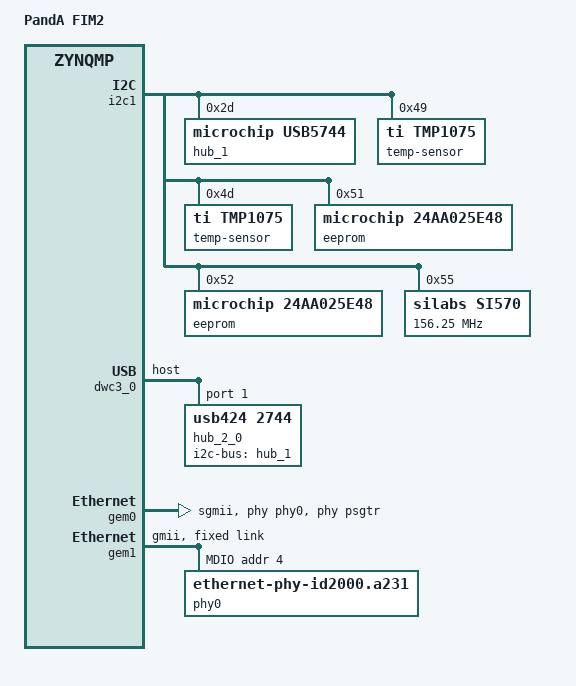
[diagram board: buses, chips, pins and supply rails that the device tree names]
/*
 * FIM2 MainBoard carrier for the K26 SOM: everything reached through SOM240.
 * SOM devices (QSPI, eMMC) live in som/k26/dts/; scripts/gen_sdt.sh merges
 * them ahead of this file and passes the result to SDTGen as -user_dts.
 * Binding constants are written as numbers, without C preprocessing.
 *
 * Migrated from the 2024.2 board tree. Check labels and merged properties
 * against the generated 2026.1 tree before using this on hardware.
 *
 * panda-load-firmware identifies the board from the model string.
 */
/ {
	model = "PandA FIM2";
	/* SDTGen 2026.1 falls back to k26c-microblaze without a stock board DTS. */
	compatible = "xlnx,zynqmp";
	aliases {
		ethernet0 = &gem0;
		ethernet1 = &gem1;
	};

	clk_125: clock0 { /* Y8 - 125 MHz GEM0 SGMII reference */
		compatible = "fixed-clock";
		#clock-cells = <0>;
		clock-frequency = <125000000>;
	};

	clk_27: clock1 { /* Y11 - 27 MHz DisplayPort reference */
		compatible = "fixed-clock";
		#clock-cells = <0>;
		clock-frequency = <27000000>;
	};

};

/*
 * GEM0 runs SGMII over PS-GT lane 0 and DisplayPort uses lane 1.  The
 * generated pcw.dtsi enables &psgtr but does not describe its reference
 * clocks, so name them here.
 *
 * REFCLK0 is the 125 MHz Y8 and REFCLK1 the 27 MHz Y11, matching
 * CONFIG.PSU__GEM0__REF_CLK_SEL and CONFIG.PSU__DP__REF_CLK_SEL in
 * carriers/fim2/bd/design_1.tcl.  Keep them in step: psu_init programs the
 * SERDES from the block design, while Linux reprograms each lane from its
 * "phys" cells (below for GEM0, generated in pcw.dtsi for DisplayPort).
 *
 * The 26 MHz Y9 on REFCLK2 is for USB 3.0, which is not enabled.
 */
&psgtr {
	clocks = <&clk_125>, <&clk_27>;
	clock-names = "ref0", "ref1";
};

/* DP STC, audio and video clock rates, as on the KR260 */
&zynqmp_dpsub {
	assigned-clock-rates = <27000000>, <25000000>, <300000000>;
};

&pinctrl0 {
	status = "okay";
	pinctrl_usb_reset_default: usb-reset-default {
		mux {
			groups = "gpio0_76_grp";
			function = "gpio0";
		};
		conf {
			pins = "MIO76";
			power-source = <1>; /* PS bank 502: 1.8 V */
			bias-pull-up; /* Leave the sequencer enabled when unclaimed. */
			slew-rate = <1>;
			drive-strength = <4>;
			output-enable; /* Remove the boot firmware's MIO tri-state. */
		};
	};
};

/*
 * MIO76 pulls U54's EN low through D15 to reset the USB PHY, hub and SD
 * reader together. Keep it available for the manual Linux reset helper;
 * assigning it to the hub driver would also reset the upstream PHY.
 * GPIO direction stays input until userspace requests an output.
 */
&gpio {
	status = "okay";
	pinctrl-names = "default";
	pinctrl-0 = <&pinctrl_usb_reset_default>;
	gpio-line-names =
		"", "", "", "", "", "", "", "", /* 0..7 */
		"", "", "", "", "", "", "", "", /* 8..15 */
		"", "", "", "", "", "", "", "", /* 16..23 */
		"", "", "", "", "", "", "", "", /* 24..31 */
		"", "", "", "", "", "", "", "", /* 32..39 */
		"", "", "", "", "", "", "", "", /* 40..47 */
		"", "", "", "", "", "", "", "", /* 48..55 */
		"", "", "", "", "", "", "", "", /* 56..63 */
		"", "", "", "", "", "", "", "", /* 64..71 */
		"", "", "", "", "FIM2_USB_RESET_N"; /* 72..76 */
};

/*
 * I2C0, MIO 42/43: SFP management bus through U36 (J21) and U60 (J8).  Its
 * level-shifter enables on MIO 38-40 are pulled up, so both cages answer at
 * 0x50/0x51; nothing is described here yet.
 */

/*
 * I2C1, MIO 24/25: shared by the SOM (PMICs, SOM EEPROM at 0x50 and 0x58)
 * and, through U37, the carrier, the FMC and the RearBoard/FrontBoard
 * EEPROMs.  Only carrier devices are described.  There is no I2C mux and no
 * reset expander on FIM2.
 */
&i2c1 {
	#address-cells = <1>;
	#size-cells = <0>;

	hub_1: usb-hub@2d { /* U19 USB5744 */
		compatible = "microchip,usb5744";
		reg = <0x2d>;
	};

	temp-sensor@49 { /* U32 TMP1075 */
		compatible = "ti,tmp1075";
		reg = <0x49>;
	};

	temp-sensor@4d { /* U34 TMP1075 */
		compatible = "ti,tmp1075";
		reg = <0x4d>;
	};

	/*
	 * 24AA025E48 MAC EEPROMs.  The upper half, which holds the factory
	 * EUI-48 at 0xfa, is write-protected in the part.
	 */
	eeprom@51 { /* U33 */
		compatible = "microchip,24aa025e48", "atmel,24c02";
		reg = <0x51>;
		read-only;
		#address-cells = <1>;
		#size-cells = <1>;

		gem0_mac: mac-address@fa {
			reg = <0xfa 0x6>;
		};
	};

	eeprom@52 { /* U35, 0x56 when JP12 is moved */
		compatible = "microchip,24aa025e48", "atmel,24c02";
		reg = <0x52>;
		read-only;
	};

	/*
	 * Y10 drives GTH REFCLK0 for the SFP+ cages.  It powers up at about
	 * 10 MHz, so set the 156.25 MHz the SFP core expects.  Any stability
	 * other than 7 ppm selects registers 7-12, which is what the part on
	 * the prototype answers on.
	 */
	si570: clock-generator@55 {
		compatible = "silabs,si570";
		reg = <0x55>;
		#clock-cells = <0>;
		temperature-stability = <50>;
		factory-fout = <10000000>;
		clock-frequency = <156250000>;
		clock-output-names = "sfp_refclk";
	};
};

/*
 * USB0, MIO 52-63: U18 USB3320 ULPI PHY, U19 USB5744 hub and U29 USB2244
 * card reader. U54 LM3880 sequences their resets; MIO76 is a manual override
 * of its enable, not a dedicated reset GPIO for any one USB device.
 * USB 3.0 is not enabled, so the controller is limited to high speed.
 */
&usb0 {
	/* The generated Kria tree's dedicated reset GPIO is not wired on FIM2. */
	/delete-property/ reset-gpios;
};

&dwc3_0 {
	dr_mode = "host";
	maximum-speed = "high-speed";
	#address-cells = <1>;
	#size-cells = <0>;

	hub_2_0: hub@1 { /* USB5744 USB 2.0 hub */
		compatible = "usb424,2744";
		reg = <1>;
		i2c-bus = <&hub_1>;
	};
};

&gem0 { /* SGMII over PS-GT lane 0, MDIO from GEM1 on MIO 50/51 */
	phys = <&psgtr 0 8 0 0>; /* lane 0, PHY_TYPE_SGMII, instance 0, refclk 0 */
	phy-handle = <&phy0>;
	phy-mode = "sgmii";
	is-internal-pcspma;
	nvmem-cells = <&gem0_mac>;
	nvmem-cell-names = "mac-address";
};

/*
 * GEM1 is on EMIO with nothing connected, so that I2C0 can use MIO 42/43.  It
 * stays enabled only for its MDIO controller on MIO 50/51, which is the only
 * one pinned out.  A fixed link lets it probe without a PHY of its own.
 */
&gem1 {
	phy-mode = "gmii";

	fixed-link {
		speed = <1000>;
		full-duplex;
	};

	mdio: mdio {
		#address-cells = <1>;
		#size-cells = <0>;

		phy0: ethernet-phy@4 { /* DP83867, reset by U53 LM3880 */
			#phy-cells = <1>;
			compatible = "ethernet-phy-id2000.a231";
			reg = <4>;
			ti,rx-internal-delay = <0x8>; /* 2.25 ns */
			ti,tx-internal-delay = <0xa>; /* 2.75 ns */
			ti,fifo-depth = <0x1>; /* 4 nibbles */
			ti,dp83867-rxctrl-strap-quirk;
		};
	};
};

